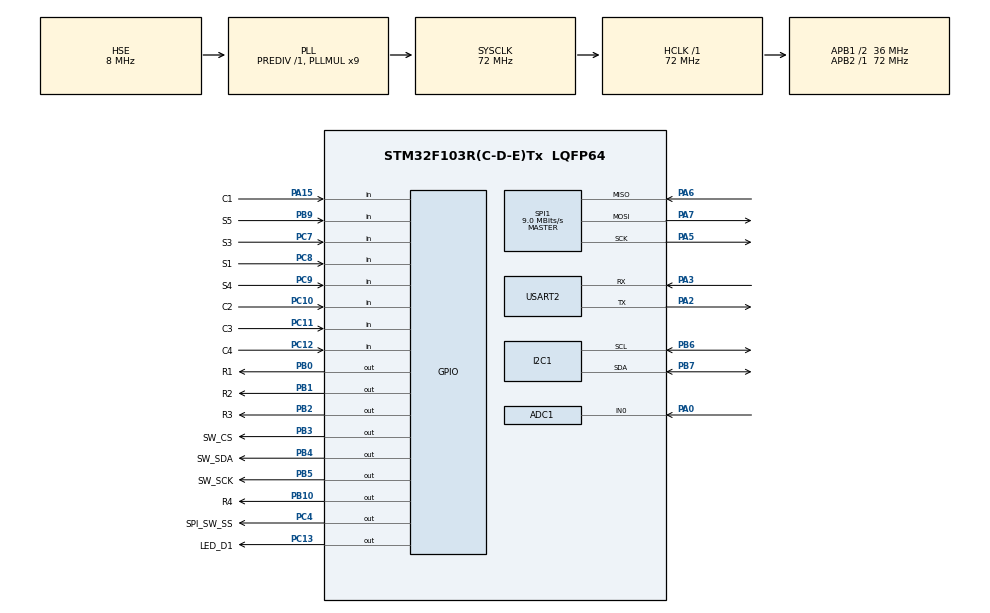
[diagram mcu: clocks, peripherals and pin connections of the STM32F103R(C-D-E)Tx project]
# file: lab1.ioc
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ADC1.Channel-0\#ChannelRegularConversion=ADC_CHANNEL_0
ADC1.ContinuousConvMode=ENABLE
ADC1.NbrOfConversionFlag=1
ADC1.Rank-0\#ChannelRegularConversion=1
ADC1.SamplingTime-0\#ChannelRegularConversion=ADC_SAMPLETIME_1CYCLE_5
ADC1.master=1
Mcu.Family=STM32F1
Mcu.Name=STM32F103R(C-D-E)Tx
Mcu.Package=LQFP64
NVIC.PriorityGroup=NVIC_PRIORITYGROUP_4
NVIC.TIM2_IRQn=true\:1\:0\:true\:false\:true\:true\:true\:true
NVIC.TIM3_IRQn=true\:0\:0\:false\:false\:true\:true\:true\:true
NVIC.TIM5_IRQn=true\:0\:0\:false\:false\:true\:true\:true\:true
NVIC.USART2_IRQn=true\:2\:0\:true\:false\:true\:true\:true\:true
PA0-WKUP.Signal=ADCx_IN0
PA13.Mode=Serial_Wire
PA13.Signal=SYS_JTMS-SWDIO
PA14.Mode=Serial_Wire
PA14.Signal=SYS_JTCK-SWCLK
PA15.GPIO_Label=C1
PA15.Signal=GPIO_Input
PA2.Mode=Asynchronous
PA2.Signal=USART2_TX
PA3.Mode=Asynchronous
PA3.Signal=USART2_RX
PA5.Mode=Full_Duplex_Master
PA5.Signal=SPI1_SCK
PA6.Mode=Full_Duplex_Master
PA6.Signal=SPI1_MISO
PA7.Mode=Full_Duplex_Master
PA7.Signal=SPI1_MOSI
PB0.GPIO_Label=R1
PB0.Signal=GPIO_Output
PB1.GPIO_Label=R2
PB1.Signal=GPIO_Output
PB10.GPIO_Label=R4
PB10.Signal=GPIO_Output
PB2.GPIO_Label=R3
PB2.Signal=GPIO_Output
PB3.GPIO_Label=SW_CS
PB3.Signal=GPIO_Output
PB4.GPIO_Label=SW_SDA
PB4.Signal=GPIO_Output
PB5.GPIO_Label=SW_SCK
PB5.Signal=GPIO_Output
PB6.Mode=I2C
PB6.Signal=I2C1_SCL
PB7.Mode=I2C
PB7.Signal=I2C1_SDA
PB9.GPIO_Label=S5
PB9.Signal=GPIO_Input
PC10.GPIO_Label=C2
PC10.Signal=GPIO_Input
PC11.GPIO_Label=C3
PC11.Signal=GPIO_Input
PC12.GPIO_Label=C4
PC12.Signal=GPIO_Input
PC13-TAMPER-RTC.GPIO_Label=LED_D1
PC13-TAMPER-RTC.Signal=GPIO_Output
PC4.GPIO_Label=SPI_SW_SS
PC4.Signal=GPIO_Output
PC7.GPIO_Label=S3
PC7.Signal=GPIO_Input
PC8.GPIO_Label=S1
PC8.Signal=GPIO_Input
PC9.GPIO_Label=S4
PC9.Signal=GPIO_Input
PD0-OSC_IN.Mode=HSE-External-Oscillator
PD0-OSC_IN.Signal=RCC_OSC_IN
PD1-OSC_OUT.Mode=HSE-External-Oscillator
PD1-OSC_OUT.Signal=RCC_OSC_OUT
ProjectManager.HeapSize=0x200
ProjectManager.StackSize=0x400
ProjectManager.TargetToolchain=MDK-ARM V5.32
RCC.ADCPresc=RCC_ADCPCLK2_DIV6
RCC.AHBFreq_Value=72000000
RCC.APB1CLKDivider=RCC_HCLK_DIV2
RCC.APB1Freq_Value=36000000
RCC.APB1TimFreq_Value=72000000
RCC.APB2Freq_Value=72000000
RCC.APB2TimFreq_Value=72000000
RCC.HCLKFreq_Value=72000000
RCC.PLLMUL=RCC_PLL_MUL9
RCC.PLLSourceVirtual=RCC_PLLSOURCE_HSE
RCC.SYSCLKFreq_VALUE=72000000
RCC.SYSCLKSource=RCC_SYSCLKSOURCE_PLLCLK
RCC.USBFreq_Value=72000000
SH.ADCx_IN0.0=ADC1_IN0,IN0
SPI1.BaudRatePrescaler=SPI_BAUDRATEPRESCALER_8
SPI1.CalculateBaudRate=9.0 MBits/s
SPI1.Direction=SPI_DIRECTION_2LINES
SPI1.Mode=SPI_MODE_MASTER
SPI1.VirtualType=VM_MASTER
TIM2.Period=7200
TIM2.Prescaler=10000
TIM3.Period=720
TIM3.Prescaler=10000
TIM5.Period=720
TIM5.Prescaler=10000
USART2.VirtualMode=VM_ASYNC
VP_TIM2_VS_ClockSourceINT.Mode=Internal
VP_TIM3_VS_ClockSourceINT.Mode=Internal
VP_TIM5_VS_ClockSourceINT.Mode=Internal
board=custom

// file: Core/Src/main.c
/* USER CODE BEGIN Header */
/**
  ******************************************************************************
  * @file           : main.c
  * @brief          : Main program body
  ******************************************************************************
  * @attention
  *
  * Copyright (c) 2025 STMicroelectronics.
  * All rights reserved.
  *
  * This software is licensed under terms that can be found in the LICENSE file
  * in the root directory of this software component.
  * If no LICENSE file comes with this software, it is provided AS-IS.
  *
  ******************************************************************************
  */
/* USER CODE END Header */
#include "main.h"
#include "adc.h"
#include "i2c.h"
#include "spi.h"
#include "tim.h"
#include "usart.h"
#include "gpio.h"

/* USER CODE BEGIN Includes */
#include "LED.h"
#include "sw_lcd.h"
#include "spi_lcd.h"
#include "i2c_oled.h"
#include "595driver.h"
#include "key.h"
#include "sw_keyboard.h"
#include "timer.h"
#include "tm1650.h"
#include <string.h>
#include <stdio.h>
/* USER CODE END Includes */

/* USER CODE BEGIN PD */
#define lab4
/* USER CODE END PD */

/* USER CODE BEGIN PV */
int key_current;
int key_history;
int s4_status = 0;
int s5_status = 0;
int clear_bits[5] = {0,0,0,0,0};
int lcd_flag = 0;
uint16_t ADC_value = 0;
float ADC_Value_float = 0;
char *name_key = "YangHaoTian Key3 pressed\n"; //27
char *number_key = "20221689 Key6 pressed\n"; //23
char ADC_str[64] ;
uint8_t uartRxBuffer[12];
uint8_t uartTxBuffer[128];
uint8_t ledStatus = 0;      // LED状态：0-关闭，1-打开，2-闪烁
uint8_t flashFrequency = 1; // 闪烁频率，默认1Hz
uint16_t rxIndex = 0; // 接收索引
uint8_t uartRxChar; // 单字符接收缓冲区

//extern int LED_status;
/* USER CODE END PV */

void SystemClock_Config(void);

int main(void)
{

  /* USER CODE BEGIN 1 */
  LED_status = 1;
  /* USER CODE END 1 */

  /* MCU Configuration--------------------------------------------------------*/

  /* Reset of all peripherals, Initializes the Flash interface and the Systick. */
  HAL_Init();

  /* Configure the system clock */
  SystemClock_Config();

  /* Initialize all configured peripherals */
  MX_GPIO_Init();
  MX_SPI1_Init();
  MX_TIM2_Init();
  MX_TIM5_Init();
  MX_TIM3_Init();
  MX_I2C1_Init();
  MX_ADC1_Init();
  MX_USART2_UART_Init();
  /* USER CODE BEGIN 2 */
  HAL_ADCEx_Calibration_Start(&hadc1);
	HAL_TIM_Base_Start_IT(&htim2);
	HAL_TIM_Base_Start_IT(&htim3);
  HAL_UART_Receive_IT(&huart2, uartRxBuffer, sizeof(uartRxBuffer)); //开启串口接收中断
	//HAL_TIM_Base_Start_IT(&htim5);

	//��ʼ������,��Ļ��
	//OLED_Init();
	//OLED_CLS();
	//
	LCE_init();
	HAL_GPIO_WritePin(GPIOC, GPIO_PIN_13, 1); //led
	//OLED_LAB_DISP_name();   //display name & number
  HAL_ADC_Start(&hadc1);
  /* USER CODE END 2 */

  /* Infinite loop */
  /* USER CODE BEGIN WHILE */
  while (1)
  {
    	//HAL_GPIO_WritePin(GPIOC, GPIO_PIN_13, 0); //led
		HAL_ADC_Start(&hadc1);
		HAL_ADC_PollForConversion(&hadc1, 10);
    if(HAL_IS_BIT_SET(HAL_ADC_GetState(&hadc1), HAL_ADC_STATE_REG_EOC))
    {
    ADC_value = HAL_ADC_GetValue(&hadc1);   //获取AD值
    }
    ADC_Value_float = (float)ADC_value * 3.3 / 4096; //将AD值转换为电压值
    /* 下面是要求二*/
    if(scan_KeyBoard())
    {
      if (curr_key == '3')
      {
        HAL_UART_Transmit(&huart2, (uint8_t *)name_key, sizeof(name_key) * 30, 1000); //发送名字
      }
      if(curr_key == '6')
      {
        HAL_UART_Transmit(&huart2, (uint8_t *)number_key, sizeof(number_key) * 30, 1000); //发送学号
      }

    }

    LCD_Display_Lab(); //LCD display ADC value
        /*要求四*/

    /* USER CODE END WHILE */

  }
}

void SystemClock_Config(void)
{
  RCC_OscInitTypeDef RCC_OscInitStruct = {0};
  RCC_ClkInitTypeDef RCC_ClkInitStruct = {0};
  RCC_PeriphCLKInitTypeDef PeriphClkInit = {0};

  /** Initializes the RCC Oscillators according to the specified parameters
  * in the RCC_OscInitTypeDef structure.
  */
  RCC_OscInitStruct.OscillatorType = RCC_OSCILLATORTYPE_HSE;
  RCC_OscInitStruct.HSEState = RCC_HSE_ON;
  RCC_OscInitStruct.HSEPredivValue = RCC_HSE_PREDIV_DIV1;
  RCC_OscInitStruct.HSIState = RCC_HSI_ON;
  RCC_OscInitStruct.PLL.PLLState = RCC_PLL_ON;
  RCC_OscInitStruct.PLL.PLLSource = RCC_PLLSOURCE_HSE;
  RCC_OscInitStruct.PLL.PLLMUL = RCC_PLL_MUL9;
  if (HAL_RCC_OscConfig(&RCC_OscInitStruct) != HAL_OK)
  {
    Error_Handler();
  }

  /** Initializes the CPU, AHB and APB buses clocks
  */
  RCC_ClkInitStruct.ClockType = RCC_CLOCKTYPE_HCLK|RCC_CLOCKTYPE_SYSCLK
                              |RCC_CLOCKTYPE_PCLK1|RCC_CLOCKTYPE_PCLK2;
  RCC_ClkInitStruct.SYSCLKSource = RCC_SYSCLKSOURCE_PLLCLK;
  RCC_ClkInitStruct.AHBCLKDivider = RCC_SYSCLK_DIV1;
  RCC_ClkInitStruct.APB1CLKDivider = RCC_HCLK_DIV2;
  RCC_ClkInitStruct.APB2CLKDivider = RCC_HCLK_DIV1;

  if (HAL_RCC_ClockConfig(&RCC_ClkInitStruct, FLASH_LATENCY_2) != HAL_OK)
  {
    Error_Handler();
  }
  PeriphClkInit.PeriphClockSelection = RCC_PERIPHCLK_ADC;
  PeriphClkInit.AdcClockSelection = RCC_ADCPCLK2_DIV6;
  if (HAL_RCCEx_PeriphCLKConfig(&PeriphClkInit) != HAL_OK)
  {
    Error_Handler();
  }
}

/* USER CODE BEGIN 4 */
void HAL_TIM_PeriodElapsedCallback(TIM_HandleTypeDef *htim){
	if(htim == &htim2){
    snprintf(ADC_str, sizeof(ADC_str), "ADC value: %.2fV\nADC value(12bit): %d\n", ADC_Value_float, ADC_value);
    HAL_UART_Transmit(&huart2, (uint8_t *)ADC_str, sizeof(ADC_str), 1000); //发送AD值
		                //HAL_GPIO_TogglePin(GPIOC, GPIO_PIN_13);

	}
	if(htim == &htim3){
        static uint8_t counter = 0;
        counter++;

        // 处理LED闪烁
        if(ledStatus == 2) {
            // 例如: 闪烁频率为2Hz时，每5次中断(10Hz/2Hz=5)翻转一次LED状态
            if(counter % (10/flashFrequency) == 0) {
                HAL_GPIO_TogglePin(GPIOC, GPIO_PIN_13);
            }
				}
		}
	if(htim == &htim5){

	}
}
void HAL_UART_RxCpltCallback(UART_HandleTypeDef *huart)
{
  if (huart->Instance == USART2) // 判断接收的串口是否为USART2
  {
    // 处理接收到的数据
        if(strstr((char*)uartRxBuffer, "open02LED"))
        {
            // 打开LED
            HAL_GPIO_WritePin(GPIOC, GPIO_PIN_13, GPIO_PIN_RESET); // 低电平点亮
            ledStatus = 1;

            // 回复确认信息
            sprintf((char*)uartTxBuffer, "LED D1已打开\r\n");
            HAL_UART_Transmit(&huart2, uartTxBuffer, strlen((char*)uartTxBuffer), 100);
        }
        else if(strstr((char*)uartRxBuffer, "close02LED"))
        {
            // 关闭LED
            HAL_GPIO_WritePin(GPIOC, GPIO_PIN_13, GPIO_PIN_SET); // 高电平熄灭
            ledStatus = 0;

            // 回复确认信息
            sprintf((char*)uartTxBuffer, "LED D1已关闭\r\n");
            HAL_UART_Transmit(&huart2, uartTxBuffer, strlen((char*)uartTxBuffer), 100);
        }
        else if(strstr((char*)uartRxBuffer, "flicker02"))
        {
            // 解析闪烁频率
            char *freqStr = strstr((char*)uartRxBuffer, "flicker02") + 9;
            int freq = freqStr[0] - '0'; // 获取频率数字
            if(freq >= 1 && freq <= 9)
            {
                flashFrequency = freq;
                ledStatus = 2;
                // 回复确认信息
                sprintf((char*)uartTxBuffer, "LED D1正以%dHz频率闪烁\r\n", flashFrequency);
                HAL_UART_Transmit(&huart2, uartTxBuffer, strlen((char*)uartTxBuffer), 100);
            }
            else
            {
                // 无效频率
                sprintf((char*)uartTxBuffer, "无效闪烁频率\r\n");
                HAL_UART_Transmit(&huart2, uartTxBuffer, strlen((char*)uartTxBuffer), 100);
            }
        }
        else
        {
            // 回传收到的信息
            sprintf((char*)uartTxBuffer, "收到: %s\r\n", uartRxBuffer);
            HAL_UART_Transmit(&huart2, uartTxBuffer, strlen((char*)uartTxBuffer), 100);
        }
        // 清空接收缓冲区并继续接收
        memset(uartRxBuffer, 0, sizeof(uartRxBuffer));
        HAL_UART_Receive_IT(&huart2, uartRxBuffer, sizeof(uartRxBuffer));
  }else{
    HAL_UART_Transmit(&huart2, (uint8_t *)"Error: Unknown UART instance\n", 30, 1000); // 错误处理
  }
	        //memset(uartRxBuffer, 0, sizeof(uartRxBuffer));

}
/* USER CODE END 4 */

void Error_Handler(void)
{
  __disable_irq();
  while (1)
  {
  }
}
